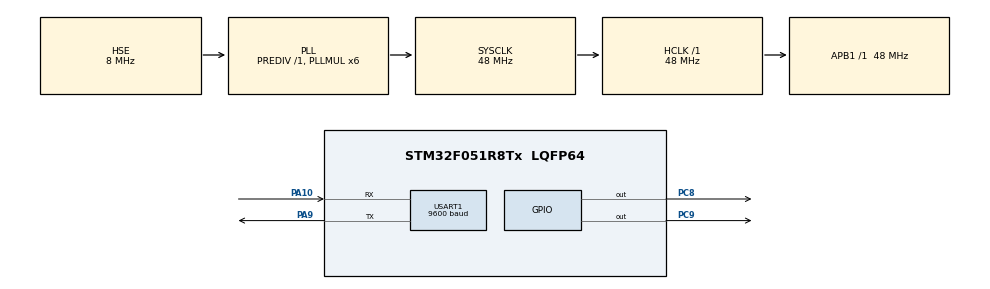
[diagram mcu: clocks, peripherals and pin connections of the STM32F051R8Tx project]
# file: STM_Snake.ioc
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Dma.Request0=USART1_RX
Dma.USART1_RX.0.Direction=DMA_PERIPH_TO_MEMORY
Dma.USART1_RX.0.Instance=DMA1_Channel3
Dma.USART1_RX.0.MemDataAlignment=DMA_MDATAALIGN_BYTE
Dma.USART1_RX.0.MemInc=DMA_MINC_ENABLE
Dma.USART1_RX.0.Mode=DMA_CIRCULAR
Dma.USART1_RX.0.PeriphDataAlignment=DMA_PDATAALIGN_BYTE
Dma.USART1_RX.0.PeriphInc=DMA_PINC_DISABLE
Dma.USART1_RX.0.Priority=DMA_PRIORITY_LOW
Mcu.Family=STM32F0
Mcu.Name=STM32F051R8Tx
Mcu.Package=LQFP64
NVIC.DMA1_Channel2_3_IRQn=true\:0\:0\:false\:false\:true\:false\:true\:true
NVIC.TIM2_IRQn=true\:0\:0\:false\:false\:true\:true\:true\:true
NVIC.USART1_IRQn=true\:0\:0\:false\:false\:true\:true\:true\:true
PA10.Mode=Asynchronous
PA10.Signal=USART1_RX
PA13.Mode=Serial_Wire
PA13.Signal=SYS_SWDIO
PA14.Mode=Serial_Wire
PA14.Signal=SYS_SWCLK
PA9.Mode=Asynchronous
PA9.Signal=USART1_TX
PC8.Signal=GPIO_Output
PC9.Signal=GPIO_Output
PF0-OSC_IN.Mode=HSE-External-Oscillator
PF0-OSC_IN.Signal=RCC_OSC_IN
PF1-OSC_OUT.Mode=HSE-External-Oscillator
PF1-OSC_OUT.Signal=RCC_OSC_OUT
ProjectManager.HeapSize=0x200
ProjectManager.StackSize=0x400
ProjectManager.TargetToolchain=STM32CubeIDE
RCC.AHBFreq_Value=48000000
RCC.APB1Freq_Value=48000000
RCC.APB1TimFreq_Value=48000000
RCC.HCLKFreq_Value=48000000
RCC.PLLMUL=RCC_PLL_MUL6
RCC.PLLSourceVirtual=RCC_PLLSOURCE_HSE
RCC.SYSCLKFreq_VALUE=48000000
RCC.SYSCLKSource=RCC_SYSCLKSOURCE_PLLCLK
TIM2.Period=999
TIM2.Prescaler=11999
USART1.BaudRate=9600
USART1.VirtualMode-Asynchronous=VM_ASYNC
USART1.WordLength=WORDLENGTH_8B
VP_TIM2_VS_ClockSourceINT.Mode=Internal
board=custom

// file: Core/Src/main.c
/* USER CODE BEGIN Header */
/**
  ******************************************************************************
  * @file           : main.c
  * @brief          : Main program body
  ******************************************************************************
  * @attention
  *
  * Copyright (c) 2025 STMicroelectronics.
  * All rights reserved.
  *
  * This software is licensed under terms that can be found in the LICENSE file
  * in the root directory of this software component.
  * If no LICENSE file comes with this software, it is provided AS-IS.
  *
  ******************************************************************************
  */
/* USER CODE END Header */
#include "main.h"

/* USER CODE BEGIN Includes */
#include "protocol.h"
#include "SnakeLogic.h"
#include "stdlib.h"
/* USER CODE END Includes */

TIM_HandleTypeDef htim2;

UART_HandleTypeDef huart1;
DMA_HandleTypeDef hdma_usart1_rx;

/* USER CODE BEGIN PV */

//Змінні передачі даних (приймання, відправка)
uint8_t tx_buffer[256];			//буфер повідомлень на надсилання
uint8_t rx_buffer[5];			//буфер повідомлень на приймання
uint8_t *payload_len;			//довжина корисного навантаження в пакеті "змійки"
uint8_t payload[256];			//корисна інформація в пакеті "змійки"
//uint8_t *cmd_byte;	 			//байт команди в будь-якому вхідному пакеті
uint8_t second_byte;     		//значення кнопки, що натискається на PC
uint8_t time_count;
uint8_t im_single_packet; //команда для одноразової передачі через таймер
uint8_t flag = 0;             //команда для паузи через пробіл
uint8_t error_massage[4] = {0x2D,0x3E,0x4C,0xff};
uint8_t error_code;
//Змінні логіки гри
uint8_t frog_x;				//"жабка" X або яблуко, виокристовується в пакеті "змійки"
uint8_t frog_y;				//"жабка" Y або яблуко, виокристовується в пакеті "змійки"
uint8_t command_receiver;
uint8_t dead_inside;

/* USER CODE END PV */

void SystemClock_Config(void);
static void MX_GPIO_Init(void);
static void MX_DMA_Init(void);
static void MX_USART1_UART_Init(void);
static void MX_TIM2_Init(void);
/* USER CODE BEGIN PFP */
//void simulate_snake_game();
void randomize_apple();
/* USER CODE END PFP */

/* USER CODE BEGIN 0 */

//HAL_UART_Receive(&huart1, )

/*void simulate_snake_game() {
    uint8_t frog_x = 20, frog_y = 25;
    uint8_t payload[8] = {10,15,11,15,12,15,13,15};

    uint8_t frame_length = encode_frame_snake(payload, 6, rx_buffer, 0x02, frog_x, frog_y);

    HAL_UART_Transmit(&huart1, rx_buffer, frame_length, 100);
}*/
/* USER CODE END 0 */

int main(void)
{

  /* USER CODE BEGIN 1 */
	// Якщо змійка зіткнулася сама з собою

  /* USER CODE END 1 */

  /* MCU Configuration--------------------------------------------------------*/

  /* Reset of all peripherals, Initializes the Flash interface and the Systick. */
  HAL_Init();

  /* Configure the system clock */
  SystemClock_Config();

  /* Initialize all configured peripherals */
  MX_GPIO_Init();
  MX_DMA_Init();
  MX_USART1_UART_Init();
  MX_TIM2_Init();
  /* USER CODE BEGIN 2 */

  HAL_UART_Receive_DMA(&huart1,rx_buffer,sizeof(rx_buffer));
  randomize_apple(&frog_x, &frog_y);

  //simulate_snake_game();
  /* USER CODE END 2 */

  /* Infinite loop */
  /* USER CODE BEGIN WHILE */
  while (1)
  {
	  //simulate_snake_game();

      //HAL_UART_Receive_DMA(&huart1, rx_buffer, sizeof(rx_buffer));

      //uint8_t Decoder_receive = decode_frame(rx_buffer,sizeof(rx_buffer));
     // HAL_UART_Transmit(&huart1, &Decoder_receive, 1, 100);

    /* USER CODE END WHILE */

  }
}

void SystemClock_Config(void)
{
  RCC_OscInitTypeDef RCC_OscInitStruct = {0};
  RCC_ClkInitTypeDef RCC_ClkInitStruct = {0};
  RCC_PeriphCLKInitTypeDef PeriphClkInit = {0};

  /** Initializes the RCC Oscillators according to the specified parameters
  * in the RCC_OscInitTypeDef structure.
  */
  RCC_OscInitStruct.OscillatorType = RCC_OSCILLATORTYPE_HSE;
  RCC_OscInitStruct.HSEState = RCC_HSE_ON;
  RCC_OscInitStruct.PLL.PLLState = RCC_PLL_ON;
  RCC_OscInitStruct.PLL.PLLSource = RCC_PLLSOURCE_HSE;
  RCC_OscInitStruct.PLL.PLLMUL = RCC_PLL_MUL6;
  RCC_OscInitStruct.PLL.PREDIV = RCC_PREDIV_DIV1;
  if (HAL_RCC_OscConfig(&RCC_OscInitStruct) != HAL_OK)
  {
    Error_Handler();
  }

  /** Initializes the CPU, AHB and APB buses clocks
  */
  RCC_ClkInitStruct.ClockType = RCC_CLOCKTYPE_HCLK|RCC_CLOCKTYPE_SYSCLK
                              |RCC_CLOCKTYPE_PCLK1;
  RCC_ClkInitStruct.SYSCLKSource = RCC_SYSCLKSOURCE_PLLCLK;
  RCC_ClkInitStruct.AHBCLKDivider = RCC_SYSCLK_DIV1;
  RCC_ClkInitStruct.APB1CLKDivider = RCC_HCLK_DIV1;

  if (HAL_RCC_ClockConfig(&RCC_ClkInitStruct, FLASH_LATENCY_1) != HAL_OK)
  {
    Error_Handler();
  }
  PeriphClkInit.PeriphClockSelection = RCC_PERIPHCLK_USART1;
  PeriphClkInit.Usart1ClockSelection = RCC_USART1CLKSOURCE_PCLK1;
  if (HAL_RCCEx_PeriphCLKConfig(&PeriphClkInit) != HAL_OK)
  {
    Error_Handler();
  }
}

static void MX_TIM2_Init(void)
{

  TIM_ClockConfigTypeDef sClockSourceConfig = {0};
  TIM_MasterConfigTypeDef sMasterConfig = {0};

  htim2.Instance = TIM2;
  htim2.Init.Prescaler = 11999;
  htim2.Init.CounterMode = TIM_COUNTERMODE_UP;
  htim2.Init.Period = 999;
  htim2.Init.ClockDivision = TIM_CLOCKDIVISION_DIV1;
  htim2.Init.AutoReloadPreload = TIM_AUTORELOAD_PRELOAD_DISABLE;
  if (HAL_TIM_Base_Init(&htim2) != HAL_OK)
  {
    Error_Handler();
  }
  sClockSourceConfig.ClockSource = TIM_CLOCKSOURCE_INTERNAL;
  if (HAL_TIM_ConfigClockSource(&htim2, &sClockSourceConfig) != HAL_OK)
  {
    Error_Handler();
  }
  sMasterConfig.MasterOutputTrigger = TIM_TRGO_RESET;
  sMasterConfig.MasterSlaveMode = TIM_MASTERSLAVEMODE_DISABLE;
  if (HAL_TIMEx_MasterConfigSynchronization(&htim2, &sMasterConfig) != HAL_OK)
  {
    Error_Handler();
  }

}

static void MX_USART1_UART_Init(void)
{

  huart1.Instance = USART1;
  huart1.Init.BaudRate = 9600;
  huart1.Init.WordLength = UART_WORDLENGTH_8B;
  huart1.Init.StopBits = UART_STOPBITS_1;
  huart1.Init.Parity = UART_PARITY_NONE;
  huart1.Init.Mode = UART_MODE_TX_RX;
  huart1.Init.HwFlowCtl = UART_HWCONTROL_NONE;
  huart1.Init.OverSampling = UART_OVERSAMPLING_16;
  huart1.Init.OneBitSampling = UART_ONE_BIT_SAMPLE_DISABLE;
  huart1.AdvancedInit.AdvFeatureInit = UART_ADVFEATURE_NO_INIT;
  if (HAL_UART_Init(&huart1) != HAL_OK)
  {
    Error_Handler();
  }

}

static void MX_DMA_Init(void)
{

  /* DMA controller clock enable */
  __HAL_RCC_DMA1_CLK_ENABLE();

  /* DMA interrupt init */
  /* DMA1_Channel2_3_IRQn interrupt configuration */
  HAL_NVIC_SetPriority(DMA1_Channel2_3_IRQn, 0, 0);
  HAL_NVIC_EnableIRQ(DMA1_Channel2_3_IRQn);

}

static void MX_GPIO_Init(void)
{
  GPIO_InitTypeDef GPIO_InitStruct = {0};

  /* GPIO Ports Clock Enable */
  __HAL_RCC_GPIOF_CLK_ENABLE();
  __HAL_RCC_GPIOC_CLK_ENABLE();
  __HAL_RCC_GPIOA_CLK_ENABLE();

  /*Configure GPIO pin Output Level */
  HAL_GPIO_WritePin(GPIOC, GPIO_PIN_8|GPIO_PIN_9, GPIO_PIN_RESET);

  /*Configure GPIO pins : PC8 PC9 */
  GPIO_InitStruct.Pin = GPIO_PIN_8|GPIO_PIN_9;
  GPIO_InitStruct.Mode = GPIO_MODE_OUTPUT_PP;
  GPIO_InitStruct.Pull = GPIO_NOPULL;
  GPIO_InitStruct.Speed = GPIO_SPEED_FREQ_LOW;
  HAL_GPIO_Init(GPIOC, &GPIO_InitStruct);

}

/* USER CODE BEGIN 4 */
void HAL_UART_RxCpltCallback(UART_HandleTypeDef *huart) {
    if (huart->Instance == USART1) {
        uint8_t cmd_code = rx_buffer[1];
        second_byte = rx_buffer[2];

        switch(cmd_code) {
            case 1: {
                uint8_t Decoder_receive = decode_frame(rx_buffer, sizeof(rx_buffer));

                if (Decoder_receive == 0 && second_byte == 1) {
                    uint8_t response[5] = {0x7E, 0x01, 0x02, 0xD1, 0x93};
                    HAL_UART_Transmit(&huart1, response, sizeof(response), 100);
                    HAL_GPIO_WritePin(GPIOC, GPIO_PIN_8, GPIO_PIN_SET);
                }
                if (Decoder_receive==4) error_code = 1;
                if (Decoder_receive==2) error_code =3;
                if (Decoder_receive==1) error_code =2;
                break;
            }
            case 3: {

                if (second_byte == 0) {
                    reset_game(&frog_x, &frog_y);
                    move_snake(0, &frog_x, &frog_y, payload);
                    uint8_t frame_length = encode_frame_snake(payload, snake_length * 2, tx_buffer, 0x02, frog_x, frog_y);
                    HAL_UART_Transmit(&huart1, tx_buffer, frame_length, 100);
                    HAL_GPIO_WritePin(GPIOC,GPIO_PIN_8,GPIO_PIN_RESET);
                    HAL_TIM_Base_Stop_IT(&htim2);
                    dead_inside = 0;

                 }

                    if (second_byte == 5) {

                    	if (flag == 0) {
                        HAL_TIM_Base_Stop_IT(&htim2);
                        flag = 1;
                        }

                        else {
                        HAL_TIM_Base_Start_IT(&htim2);
                        flag = 0;
                 }

             }

                if (second_byte == 1 || second_byte == 2 || second_byte == 3 || second_byte == 4) {
                    HAL_TIM_Base_Start_IT(&htim2);
                }
                break;
            }
        }
        HAL_UART_Receive_DMA(&huart1, rx_buffer, sizeof(rx_buffer));

        }
    }

void HAL_TIM_PeriodElapsedCallback(TIM_HandleTypeDef *htim) {
    if (htim->Instance == TIM2) {
        time_count++;
        if (time_count == 1) {
        	command_receiver = second_byte;
            move_snake(command_receiver, &frog_x, &frog_y, payload);
            uint8_t frame_length = encode_frame_snake(payload, snake_length * 2, tx_buffer, 0x02, frog_x, frog_y);
            HAL_UART_Transmit(&huart1, tx_buffer, frame_length, 100);
            time_count = 0;
        }
    	if (dead_inside == 8) {
    		reset_game(&frog_x, &frog_y);
    	    uint8_t response[5] = {0x7E, 0x06, 0x01, 0xD1, 0x93}; // (CRC треба згенерувати)
    	    HAL_UART_Transmit(&huart1, response, sizeof(response), 100);
    		HAL_TIM_Base_Stop_IT(&htim2);
    		dead_inside = 0;
    	}
    }
}

/* USER CODE END 4 */

void Error_Handler(void)
{
  /* USER CODE BEGIN Error_Handler_Debug */
	uint8_t Error_buffer[5];
		 switch (error_code) {
		        case 1:
		        	 encode_frame_err(&error_massage[0], Error_buffer, 0x01);
		        		            HAL_UART_Transmit(&huart1, Error_buffer,sizeof(Error_buffer),100);

		        		            break;
		        case 2:

		        	 encode_frame_err(&error_massage[1], Error_buffer, 0x01);
		        		            HAL_UART_Transmit(&huart1, Error_buffer,sizeof(Error_buffer),100);

		        		            break;
		        case 4:  // Невірний CRC
		        	 encode_frame_err(&error_massage[2], Error_buffer, 0x01);
		        		            HAL_UART_Transmit(&huart1, Error_buffer,sizeof(Error_buffer),100);

		        		            break;
		        default:
		        	 encode_frame_err(&error_massage[3], Error_buffer, 0x01);
		        		            HAL_UART_Transmit(&huart1, Error_buffer,sizeof(Error_buffer),100);

		        		            break;
		 }
  /* User can add his own implementation to report the HAL error return state */
  __disable_irq();
  while (1)
  {
  }
  /* USER CODE END Error_Handler_Debug */
}
